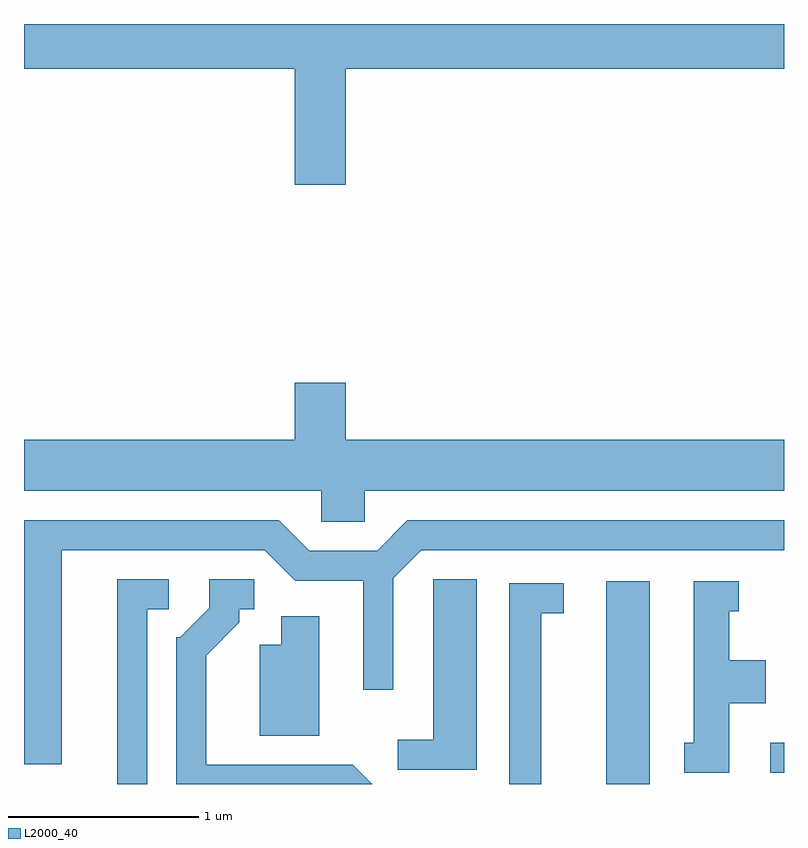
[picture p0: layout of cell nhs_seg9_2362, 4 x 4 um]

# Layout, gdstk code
import gdstk
lib = gdstk.Library(unit=1e-6, precision=1e-09)
def R(c, l, rs):  # rectangles x0, y0, x1, y1
    for r in rs: c.add(gdstk.rectangle(r[:2], r[2:], *l))
def P(c, l, *ps):  # polygons
    for p in ps: c.add(gdstk.Polygon(p, *l))
L2000_40 = (2000, 40)

nhs_seg9_2362 = lib.new_cell('nhs_seg9_2362')
R(nhs_seg9_2362, L2000_40, [(256.676,2052.432,256.904,2053.499), (257.538,2052.491,257.611,2052.649)])
P(nhs_seg9_2362, L2000_40, [(255.304,2056.196),(257.611,2056.196),(257.611,2056.432),(253.611,2056.432),(253.611,2056.196),(255.036,2056.196),(255.036,2055.586),(255.304,2055.586)],
  [(255.404,2053.976),(257.611,2053.976),(257.611,2054.244),(255.304,2054.244),(255.304,2054.544),(255.036,2054.544),(255.036,2054.244),(253.611,2054.244),(253.611,2053.976),(255.176,2053.976),(255.176,2053.811),(255.404,2053.811)],
  [(253.809,2053.661),(254.879,2053.661),(255.039,2053.501),(255.396,2053.501),(255.396,2052.928),(255.554,2052.928),(255.554,2053.514),(255.702,2053.661),(257.611,2053.661),(257.611,2053.819),(255.629,2053.819),(255.469,2053.659),(255.112,2053.659),(254.952,2053.819),(253.611,2053.819),(253.611,2052.536),(253.809,2052.536)],
  [(254.259,2053.351),(254.373,2053.351),(254.373,2053.509),(254.101,2053.509),(254.101,2052.432),(254.259,2052.432)],
  [(255.994,2053.509),(255.766,2053.509),(255.766,2052.664),(255.578,2052.664),(255.578,2052.506),(255.994,2052.506)],
  [(255.342,2052.534),(254.569,2052.534),(254.569,2053.108),(254.744,2053.284),(254.744,2053.351),(254.823,2053.351),(254.823,2053.509),(254.586,2053.509),(254.586,2053.356),(254.434,2053.204),(254.411,2053.204),(254.411,2052.432),(255.444,2052.432)],
  [(257.324,2052.856),(257.514,2052.856),(257.514,2053.084),(257.324,2053.084),(257.324,2053.341),(257.373,2053.341),(257.373,2053.499),(257.136,2053.499),(257.136,2052.649),(257.087,2052.649),(257.087,2052.491),(257.324,2052.491)],
  [(256.334,2053.331),(256.453,2053.331),(256.453,2053.489),(256.166,2053.489),(256.166,2052.432),(256.334,2052.432)],
  [(255.164,2053.314),(254.966,2053.314),(254.966,2053.164),(254.851,2053.164),(254.851,2052.686),(255.164,2052.686)])

lib.write_gds('nhs_seg9_2362.gds')
